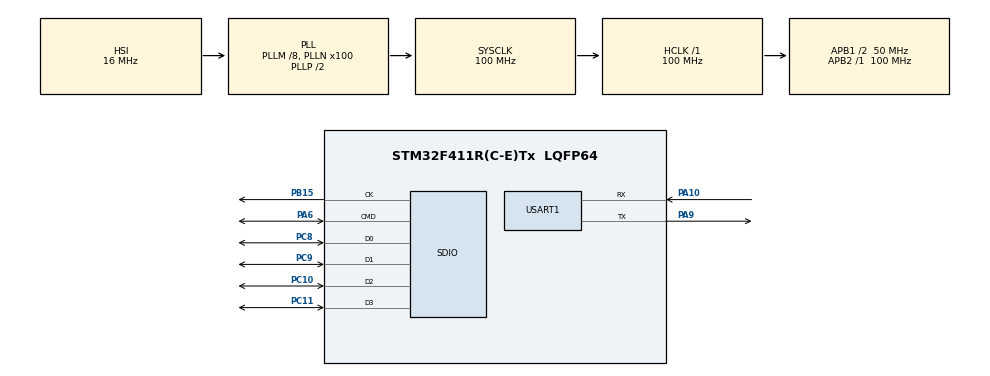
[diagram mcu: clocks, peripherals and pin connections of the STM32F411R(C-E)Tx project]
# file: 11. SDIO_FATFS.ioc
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Dma.Request0=SDIO_TX
Dma.Request1=SDIO_RX
Dma.SDIO_RX.1.Direction=DMA_PERIPH_TO_MEMORY
Dma.SDIO_RX.1.FIFOMode=DMA_FIFOMODE_ENABLE
Dma.SDIO_RX.1.FIFOThreshold=DMA_FIFO_THRESHOLD_FULL
Dma.SDIO_RX.1.Instance=DMA2_Stream6
Dma.SDIO_RX.1.MemBurst=DMA_MBURST_INC4
Dma.SDIO_RX.1.MemDataAlignment=DMA_MDATAALIGN_WORD
Dma.SDIO_RX.1.MemInc=DMA_MINC_ENABLE
Dma.SDIO_RX.1.Mode=DMA_PFCTRL
Dma.SDIO_RX.1.PeriphBurst=DMA_PBURST_INC4
Dma.SDIO_RX.1.PeriphDataAlignment=DMA_PDATAALIGN_WORD
Dma.SDIO_RX.1.PeriphInc=DMA_PINC_DISABLE
Dma.SDIO_RX.1.Priority=DMA_PRIORITY_LOW
Dma.SDIO_TX.0.Direction=DMA_MEMORY_TO_PERIPH
Dma.SDIO_TX.0.FIFOMode=DMA_FIFOMODE_ENABLE
Dma.SDIO_TX.0.FIFOThreshold=DMA_FIFO_THRESHOLD_FULL
Dma.SDIO_TX.0.Instance=DMA2_Stream3
Dma.SDIO_TX.0.MemBurst=DMA_MBURST_INC4
Dma.SDIO_TX.0.MemDataAlignment=DMA_MDATAALIGN_WORD
Dma.SDIO_TX.0.MemInc=DMA_MINC_ENABLE
Dma.SDIO_TX.0.Mode=DMA_PFCTRL
Dma.SDIO_TX.0.PeriphBurst=DMA_PBURST_INC4
Dma.SDIO_TX.0.PeriphDataAlignment=DMA_PDATAALIGN_WORD
Dma.SDIO_TX.0.PeriphInc=DMA_PINC_DISABLE
Dma.SDIO_TX.0.Priority=DMA_PRIORITY_LOW
FATFS.USE_DMA_CODE_SD=1
FATFS._USE_LFN=1
Mcu.Family=STM32F4
Mcu.Name=STM32F411R(C-E)Tx
Mcu.Package=LQFP64
NVIC.DMA2_Stream3_IRQn=true\:0\:0\:false\:false\:true\:false\:true\:true
NVIC.DMA2_Stream6_IRQn=true\:0\:0\:false\:false\:true\:false\:true\:true
NVIC.PriorityGroup=NVIC_PRIORITYGROUP_4
NVIC.SDIO_IRQn=true\:0\:0\:false\:false\:true\:true\:true\:true
NVIC.USART1_IRQn=true\:0\:0\:false\:false\:true\:true\:true\:true
PA10.Mode=Asynchronous
PA10.Signal=USART1_RX
PA13.Mode=Serial_Wire
PA13.Signal=SYS_JTMS-SWDIO
PA14.Mode=Serial_Wire
PA14.Signal=SYS_JTCK-SWCLK
PA6.Mode=SD_4_bits_Wide_bus
PA6.Signal=SDIO_CMD
PA9.Mode=Asynchronous
PA9.Signal=USART1_TX
PB15.Mode=SD_4_bits_Wide_bus
PB15.Signal=SDIO_CK
PC10.Mode=SD_4_bits_Wide_bus
PC10.Signal=SDIO_D2
PC11.Mode=SD_4_bits_Wide_bus
PC11.Signal=SDIO_D3
PC8.Mode=SD_4_bits_Wide_bus
PC8.Signal=SDIO_D0
PC9.Mode=SD_4_bits_Wide_bus
PC9.Signal=SDIO_D1
ProjectManager.HeapSize=0x200
ProjectManager.StackSize=0x400
ProjectManager.TargetToolchain=STM32CubeIDE
RCC.48MHZClocksFreq_Value=40000000
RCC.AHBFreq_Value=100000000
RCC.APB1CLKDivider=RCC_HCLK_DIV2
RCC.APB1Freq_Value=50000000
RCC.APB1TimFreq_Value=100000000
RCC.APB2Freq_Value=100000000
RCC.APB2TimFreq_Value=100000000
RCC.CortexFreq_Value=100000000
RCC.HCLKFreq_Value=100000000
RCC.HSE_VALUE=25000000
RCC.HSI_VALUE=16000000
RCC.LSE_VALUE=32768
RCC.PLLM=8
RCC.PLLN=100
RCC.PLLQ=5
RCC.SYSCLKFreq_VALUE=100000000
RCC.SYSCLKSource=RCC_SYSCLKSOURCE_PLLCLK
RCC.VCOOutputFreq_Value=200000000
USART1.VirtualMode=VM_ASYNC
VP_FATFS_VS_SDIO.Mode=SDIO
board=custom

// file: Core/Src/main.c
/* USER CODE BEGIN Header */
/**
  ******************************************************************************
  * @file           : main.c
  * @brief          : Main program body
  ******************************************************************************
  * @attention
  *
  * Copyright (c) 2022 STMicroelectronics.
  * All rights reserved.
  *
  * This software is licensed under terms that can be found in the LICENSE file
  * in the root directory of this software component.
  * If no LICENSE file comes with this software, it is provided AS-IS.
  *
  ******************************************************************************
  */
/* USER CODE END Header */
#include "main.h"
#include "dma.h"
#include "fatfs.h"
#include "sdio.h"
#include "usart.h"
#include "gpio.h"

/* USER CODE BEGIN Includes */
#include <stdio.h>
/* USER CODE END Includes */

/* USER CODE BEGIN PD */
#define STR_SIZE 40
/* USER CODE END PD */

/* USER CODE BEGIN PV */
char str[STR_SIZE];
uint8_t flag1;
/* USER CODE END PV */

void SystemClock_Config(void);
/* USER CODE BEGIN PFP */
void uart_buffer_clean(char *str, uint32_t cnt);
/* USER CODE END PFP */

int main(void)
{

  /* MCU Configuration--------------------------------------------------------*/

  /* Reset of all peripherals, Initializes the Flash interface and the Systick. */
  HAL_Init();

  /* Configure the system clock */
  SystemClock_Config();

  /* Initialize all configured peripherals */
  MX_GPIO_Init();
  MX_USART1_UART_Init();
  MX_DMA_Init();
  MX_FATFS_Init();
  MX_SDIO_SD_Init();
  /* USER CODE BEGIN 2 */
  HAL_UART_Receive_IT(&huart1, str, STR_SIZE);
  /* USER CODE END 2 */

  /* Infinite loop */
  /* USER CODE BEGIN WHILE */

  BYTE buf[32] = "Hello world";	// file copy buffer
  uint32_t bw, br;

  // 1. FS Initialization("0:/"drive allocation)
//  if((retSD = f_mount(&SDFatFS, "0:/", 1)) == FR_OK)
  if((retSD = f_mount(&SDFatFS, &SDPath[0], 1)) == FR_OK)
  {
	  sprintf(str, "f_mount OK %d\n", retSD);
	  HAL_UART_Transmit(&huart1, str, STR_SIZE, 10);
  }
  else
  {
	  sprintf(str, "f_mount failed %d\n", retSD);
	  HAL_UART_Transmit(&huart1, str, STR_SIZE, 10);
  }
  uart_buffer_clean(str, STR_SIZE);

  /*
  // 2. File create & write
  if((retSD = f_open(&SDFile, "0:/Hello_world.txt", FA_CREATE_NEW | FA_WRITE)) == FR_OK)
  {
	  sprintf(buf, "Hello world~!");
	  f_write(&SDFile, buf, sizeof(buf),  &bw);

	  sprintf(str, "%d bytes\n", bw);
	  HAL_UART_Transmit(&huart1, str, STR_SIZE, 10);

	  f_close(&SDFile);
  }
  else
  {
	  sprintf(str, "error %d\n", retSD);
	  HAL_UART_Transmit(&huart1, str, STR_SIZE, 10);
  }
  */

  // 4. Read file info in folder
  DIR dir;
  FILINFO filinfo;
  uint16_t filecnt = 0;
  if((retSD = f_opendir(&dir, "0:/")) == FR_OK)
  {
	  while(1)
	  {
		  retSD = f_readdir(&dir, &filinfo);
		  if(dir.sect == 0) break;

		  sprintf(str, "%s\t 0x%x\n", filinfo.fname, filinfo.fattrib);
		  HAL_UART_Transmit(&huart1, str, STR_SIZE, 10);
		  uart_buffer_clean(str, STR_SIZE);
		  filecnt++;
	  }
	  uart_buffer_clean(str, STR_SIZE);
	  sprintf(str, "\nTotal %d file(s)..\n\n", filecnt);
	  HAL_UART_Transmit(&huart1, str, STR_SIZE, 10);
  }
  else
  {
	  sprintf(str, "The file/directory object is invalid! %d\n", retSD);
	  HAL_UART_Transmit(&huart1, str, STR_SIZE, 10);
  }
  uart_buffer_clean(str, STR_SIZE);

  // 3. File read
//  if((retSD = f_open(&SDFile, "0:/sdp.txt", FA_OPEN_EXISTING | FA_READ)) == FR_OK)
  // if file not exist
  if((retSD = f_open(&SDFile, "0:/sdp1234.txt", FA_OPEN_EXISTING | FA_READ)) == FR_OK)
  {
	  f_read(&SDFile, buf, 32, &br);
	  sprintf(str, "%s\n", buf);
	  HAL_UART_Transmit(&huart1, str, STR_SIZE, 10);
	  uart_buffer_clean(str, STR_SIZE);

	  sprintf(str, "%d bytes\n", br);
	  HAL_UART_Transmit(&huart1, str, STR_SIZE, 10);
	  uart_buffer_clean(str, STR_SIZE);
  }
  else
  {
	  sprintf(str, "error %d\n", retSD);
	  HAL_UART_Transmit(&huart1, str, STR_SIZE, 10);
	  uart_buffer_clean(str, STR_SIZE);
  }

  while (1)
  {

	  if(flag1)
	  {
		  flag1 = 0;
		  HAL_UART_Transmit(&huart1, str, STR_SIZE, 10);
	  }
    /* USER CODE END WHILE */

  }
}

void SystemClock_Config(void)
{
  RCC_OscInitTypeDef RCC_OscInitStruct = {0};
  RCC_ClkInitTypeDef RCC_ClkInitStruct = {0};

  /** Configure the main internal regulator output voltage
  */
  __HAL_RCC_PWR_CLK_ENABLE();
  __HAL_PWR_VOLTAGESCALING_CONFIG(PWR_REGULATOR_VOLTAGE_SCALE1);

  /** Initializes the RCC Oscillators according to the specified parameters
  * in the RCC_OscInitTypeDef structure.
  */
  RCC_OscInitStruct.OscillatorType = RCC_OSCILLATORTYPE_HSI;
  RCC_OscInitStruct.HSIState = RCC_HSI_ON;
  RCC_OscInitStruct.HSICalibrationValue = RCC_HSICALIBRATION_DEFAULT;
  RCC_OscInitStruct.PLL.PLLState = RCC_PLL_ON;
  RCC_OscInitStruct.PLL.PLLSource = RCC_PLLSOURCE_HSI;
  RCC_OscInitStruct.PLL.PLLM = 8;
  RCC_OscInitStruct.PLL.PLLN = 100;
  RCC_OscInitStruct.PLL.PLLP = RCC_PLLP_DIV2;
  RCC_OscInitStruct.PLL.PLLQ = 5;
  if (HAL_RCC_OscConfig(&RCC_OscInitStruct) != HAL_OK)
  {
    Error_Handler();
  }

  /** Initializes the CPU, AHB and APB buses clocks
  */
  RCC_ClkInitStruct.ClockType = RCC_CLOCKTYPE_HCLK|RCC_CLOCKTYPE_SYSCLK
                              |RCC_CLOCKTYPE_PCLK1|RCC_CLOCKTYPE_PCLK2;
  RCC_ClkInitStruct.SYSCLKSource = RCC_SYSCLKSOURCE_PLLCLK;
  RCC_ClkInitStruct.AHBCLKDivider = RCC_SYSCLK_DIV1;
  RCC_ClkInitStruct.APB1CLKDivider = RCC_HCLK_DIV2;
  RCC_ClkInitStruct.APB2CLKDivider = RCC_HCLK_DIV1;

  if (HAL_RCC_ClockConfig(&RCC_ClkInitStruct, FLASH_LATENCY_3) != HAL_OK)
  {
    Error_Handler();
  }
}

/* USER CODE BEGIN 4 */
void HAL_UART_RxCpltCallback(UART_HandleTypeDef *huart)
{
	if(huart->Instance == USART1)
	{
		HAL_UART_Receive_IT(&huart1, str, STR_SIZE);
		flag1 = 1;
	}
}

void uart_buffer_clean(char *str, uint32_t cnt)
{
	while(cnt--)
		*str++ = 0;
}
/* USER CODE END 4 */

void Error_Handler(void)
{
  __disable_irq();
  while (1)
  {
  }
}
